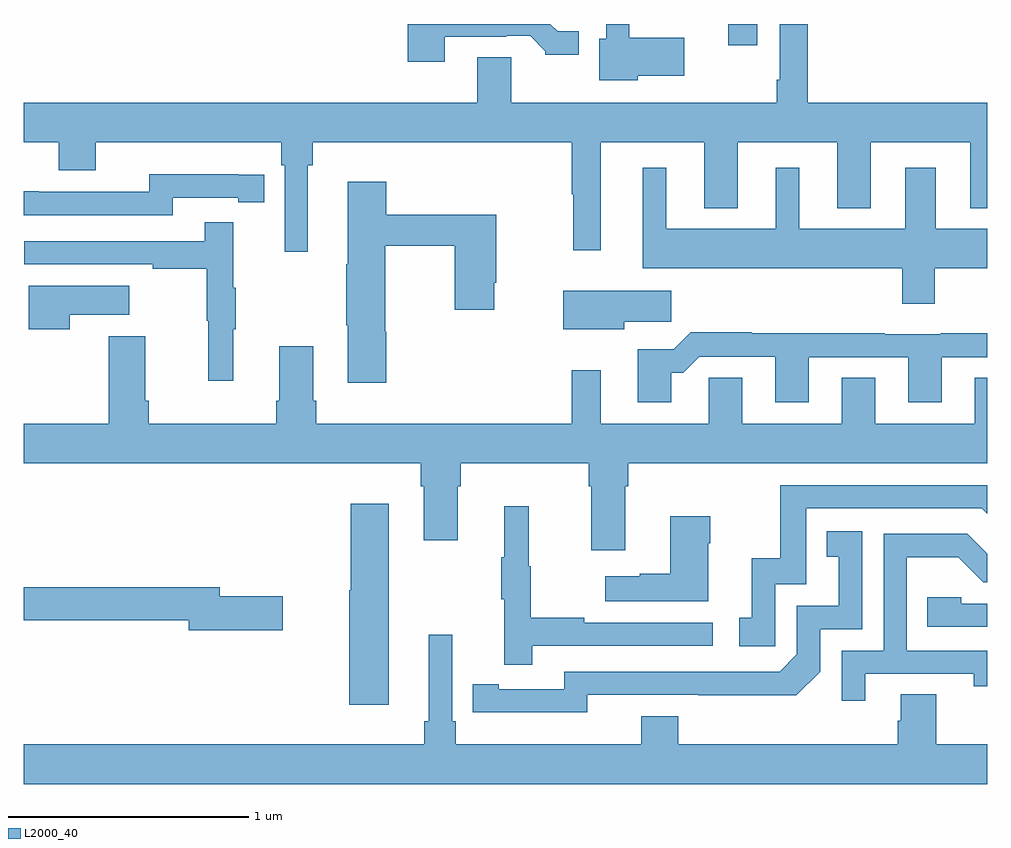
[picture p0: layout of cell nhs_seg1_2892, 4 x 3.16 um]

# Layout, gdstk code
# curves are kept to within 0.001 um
import gdstk
lib = gdstk.Library(unit=1e-6, precision=1e-09)
def R(c, l, rs):  # rectangles x0, y0, x1, y1
    for r in rs: c.add(gdstk.rectangle(r[:2], r[2:], *l))
def P(c, l, *ps):  # polygons
    for p in ps: c.add(gdstk.Polygon(p, *l))
L2000_40 = (2000, 40)

nhs_seg1_2892 = lib.new_cell('nhs_seg1_2892')
R(nhs_seg1_2892, L2000_40, [(269.924,576.111,270.046,576.199)])
P(nhs_seg1_2892, L2000_40, [(268.747,576.147),(269.003,576.147),(269.003,576.15),(269.102,576.15),(269.166,576.086),(269.166,576.071),(269.305,576.071),(269.305,576.168),(269.217,576.168),(269.186,576.199),(268.595,576.199),(268.595,576.042),(268.747,576.042)],
  [(268.18,575.612),(268.199,575.612),(268.199,575.708),(269.274,575.708),(269.274,575.492),(269.281,575.492),(269.281,575.259),(269.395,575.259),(269.395,575.708),(269.825,575.708),(269.825,575.435),(269.965,575.435),(269.965,575.708),(270.377,575.708),(270.377,575.435),(270.517,575.435),(270.517,575.708),(270.929,575.708),(270.929,575.435),(271,575.435),(271,575.872),(270.254,575.872),(270.254,576.199),(270.138,576.199),(270.138,575.968),(270.126,575.968),(270.126,575.872),(269.023,575.872),(269.023,576.062),(268.883,576.062),(268.883,575.872),(267,575.872),(267,575.708),(267.146,575.708),(267.146,575.591),(267.298,575.591),(267.298,575.708),(268.07,575.708),(268.07,575.612),(268.083,575.612),(268.083,575.253),(268.18,575.253)],
  [(269.55,575.984),(269.743,575.984),(269.743,576.142),(269.514,576.142),(269.514,576.199),(269.418,576.199),(269.418,576.138),(269.39,576.138),(269.39,575.966),(269.55,575.966)],
  [(270.781,575.186),(271,575.186),(271,575.35),(270.787,575.35),(270.787,575.602),(270.659,575.602),(270.659,575.35),(270.22,575.35),(270.22,575.602),(270.122,575.602),(270.122,575.35),(269.668,575.35),(269.668,575.602),(269.57,575.602),(269.57,575.186),(270.647,575.186),(270.647,575.037),(270.781,575.037)],
  [(267.618,575.478),(267.89,575.478),(267.89,575.458),(267.998,575.458),(267.998,575.574),(267.89,575.574),(267.89,575.575),(267.522,575.575),(267.522,575.502),(267.062,575.502),(267.062,575.504),(267,575.504),(267,575.406),(267.618,575.406)],
  [(268.505,574.922),(268.5,574.922),(268.5,575.278),(268.789,575.278),(268.789,575.013),(268.954,575.013),(268.954,575.125),(268.962,575.125),(268.962,575.407),(268.505,575.407),(268.505,575.545),(268.346,575.545),(268.346,575.201),(268.339,575.201),(268.339,574.948),(268.346,574.948),(268.346,574.71),(268.505,574.71)],
  [(267.869,574.931),(267.88,574.931),(267.88,575.105),(267.869,575.105),(267.869,575.377),(267.751,575.377),(267.751,575.298),(267.003,575.298),(267.003,575.202),(267.535,575.202),(267.535,575.182),(267.759,575.182),(267.759,574.968),(267.766,574.968),(267.766,574.719),(267.869,574.719)],
  [(267.191,574.991),(267.439,574.991),(267.439,575.113),(267.02,575.113),(267.02,574.932),(267.191,574.932)],
  [(269.494,574.963),(269.689,574.963),(269.689,575.092),(269.24,575.092),(269.24,574.931),(269.494,574.931)],
  [(269.689,574.751),(269.738,574.751),(269.805,574.818),(270.119,574.818),(270.119,574.629),(270.259,574.629),(270.259,574.815),(270.671,574.815),(270.671,574.629),(270.811,574.629),(270.811,574.815),(271,574.815),(271,574.916),(270.807,574.916),(270.807,574.911),(270.575,574.911),(270.575,574.916),(270.023,574.916),(270.023,574.919),(269.768,574.919),(269.698,574.849),(269.549,574.849),(269.549,574.629),(269.689,574.629)],
  [(269.497,574.28),(269.51,574.28),(269.51,574.376),(271,574.376),(271,574.73),(270.947,574.73),(270.947,574.54),(270.535,574.54),(270.535,574.73),(270.395,574.73),(270.395,574.54),(269.983,574.54),(269.983,574.73),(269.844,574.73),(269.844,574.54),(269.395,574.54),(269.395,574.762),(269.274,574.762),(269.274,574.54),(268.214,574.54),(268.214,574.636),(268.201,574.636),(268.201,574.861),(268.061,574.861),(268.061,574.636),(268.049,574.636),(268.049,574.54),(267.518,574.54),(267.518,574.636),(267.505,574.636),(267.505,574.903),(267.353,574.903),(267.353,574.54),(267,574.54),(267,574.376),(268.649,574.376),(268.649,574.28),(268.661,574.28),(268.661,574.056),(268.801,574.056),(268.801,574.28),(268.814,574.28),(268.814,574.376),(269.345,574.376),(269.345,574.28),(269.357,574.28),(269.357,574.014),(269.497,574.014)],
  [(270.12,573.873),(270.249,573.873),(270.249,574.188),(270.978,574.188),(271,574.166),(271,574.284),(270.141,574.284),(270.141,573.982),(270.023,573.982),(270.023,573.735),(269.97,573.735),(269.97,573.615),(270.12,573.615)],
  [(268.516,574.207),(268.358,574.207),(268.358,573.849),(268.352,573.849),(268.352,573.372),(268.516,573.372)],
  [(269.111,573.618),(269.86,573.618),(269.86,573.714),(269.327,573.714),(269.327,573.734),(269.104,573.734),(269.104,573.948),(269.096,573.948),(269.096,574.198),(268.994,574.198),(268.994,573.985),(268.983,573.985),(268.983,573.811),(268.994,573.811),(268.994,573.54),(269.111,573.54)],
  [(269.842,574.043),(269.85,574.043),(269.85,574.156),(269.684,574.156),(269.684,573.917),(269.558,573.917),(269.558,573.907),(269.415,573.907),(269.415,573.803),(269.842,573.803)],
  [(269.34,573.414),(270.208,573.413),(270.306,573.51),(270.306,573.687),(270.48,573.687),(270.48,574.093),(270.334,574.093),(270.334,573.987),(270.383,573.987),(270.383,573.783),(270.21,573.783),(270.21,573.582),(270.138,573.51),(269.244,573.51),(269.244,573.438),(268.972,573.438),(268.972,573.458),(268.864,573.458),(268.864,573.342),(269.34,573.341)],
  [(270.493,573.501),(270.944,573.501),(270.944,573.45),(271,573.45),(271,573.597),(270.666,573.597),(270.666,573.986),(270.88,573.986),(270.984,573.882),(271,573.882),(271,573.999),(270.916,574.083),(270.57,574.083),(270.57,573.597),(270.396,573.597),(270.396,573.39),(270.493,573.39)],
  [(268.075,573.824),(267.814,573.824),(267.814,573.86),(267,573.86),(267,573.724),(267.686,573.724),(267.686,573.682),(268.075,573.682)],
  [(271,573.792),(270.891,573.792),(270.891,573.819),(270.751,573.819),(270.751,573.696),(271,573.696)],
  [(271,573.208),(270.789,573.208),(270.789,573.416),(270.641,573.416),(270.641,573.306),(270.629,573.306),(270.629,573.208),(269.717,573.208),(269.717,573.325),(269.564,573.325),(269.564,573.208),(268.793,573.208),(268.793,573.304),(268.779,573.304),(268.779,573.664),(268.682,573.664),(268.682,573.304),(268.663,573.304),(268.663,573.208),(267,573.208),(267,573.044),(271,573.044)])

lib.write_gds('nhs_seg1_2892.gds')
